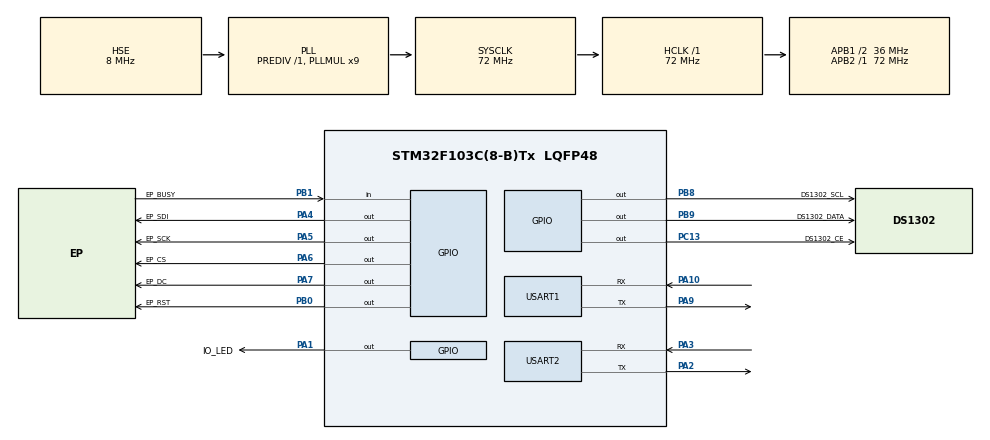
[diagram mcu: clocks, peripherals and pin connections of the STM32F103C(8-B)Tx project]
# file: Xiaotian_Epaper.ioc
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FREERTOS.BinarySemaphores01=Binary_Sem_1,Dynamic,NULL,Available;Binary_Sem_2,Dynamic,NULL,Available
FREERTOS.Events01=Event_01,Static,Event_01C;Event_02,Static,Event_02C
FREERTOS.Tasks01=TASK_INIT,40,128,task_init,Default,NULL,Dynamic,NULL,NULL;TASK_SHOW,32,128,task_show,Default,NULL,Dynamic,NULL,NULL;TASK_RUN,24,128,task_run,Default,NULL,Dynamic,NULL,NULL;TASK_READ,24,128,task_read,Default,NULL,Dynamic,NULL,NULL
FREERTOS.Timers01=Timer_ds1302_read,Callback_ds1302_read,osTimerPeriodic,Default,NULL,Dynamic,NULL
FREERTOS.configUSE_NEWLIB_REENTRANT=1
Mcu.Family=STM32F1
Mcu.Name=STM32F103C(8-B)Tx
Mcu.Package=LQFP48
NVIC.PriorityGroup=NVIC_PRIORITYGROUP_4
NVIC.TIM1_UP_IRQn=true\:15\:0\:false\:false\:true\:false\:false\:true\:true
NVIC.TimeBase=TIM1_UP_IRQn
NVIC.TimeBaseIP=TIM1
NVIC.USART1_IRQn=true\:5\:0\:false\:false\:true\:true\:true\:true\:true
NVIC.USART2_IRQn=true\:5\:0\:false\:false\:true\:true\:true\:true\:true
PA1.GPIO_Label=IO_LED
PA1.GPIO_PuPd=GPIO_NOPULL
PA1.Signal=GPIO_Output
PA10.Mode=Asynchronous
PA10.Signal=USART1_RX
PA13.Mode=Serial_Wire
PA13.Signal=SYS_JTMS-SWDIO
PA14.Mode=Serial_Wire
PA14.Signal=SYS_JTCK-SWCLK
PA2.Mode=Asynchronous
PA2.Signal=USART2_TX
PA3.Mode=Asynchronous
PA3.Signal=USART2_RX
PA4.GPIO_Label=EP_SDI
PA4.Signal=GPIO_Output
PA5.GPIO_Label=EP_SCK
PA5.Signal=GPIO_Output
PA6.GPIO_Label=EP_CS
PA6.Signal=GPIO_Output
PA7.GPIO_Label=EP_DC
PA7.Signal=GPIO_Output
PA9.Mode=Asynchronous
PA9.Signal=USART1_TX
PB0.GPIO_Label=EP_RST
PB0.Signal=GPIO_Output
PB1.GPIO_Label=EP_BUSY
PB1.GPIO_PuPd=GPIO_PULLDOWN
PB1.Signal=GPIO_Input
PB8.GPIO_Label=DS1302_SCL
PB8.GPIO_Speed=GPIO_SPEED_FREQ_MEDIUM
PB8.Signal=GPIO_Output
PB9.GPIO_Label=DS1302_DATA
PB9.GPIO_Speed=GPIO_SPEED_FREQ_MEDIUM
PB9.Signal=GPIO_Output
PC13-TAMPER-RTC.GPIO_Label=DS1302_CE
PC13-TAMPER-RTC.GPIO_Speed=GPIO_SPEED_FREQ_MEDIUM
PC13-TAMPER-RTC.Signal=GPIO_Output
PD0-OSC_IN.Mode=HSE-External-Oscillator
PD0-OSC_IN.Signal=RCC_OSC_IN
PD1-OSC_OUT.Mode=HSE-External-Oscillator
PD1-OSC_OUT.Signal=RCC_OSC_OUT
ProjectManager.HeapSize=0x200
ProjectManager.StackSize=0x400
ProjectManager.TargetToolchain=STM32CubeIDE
RCC.AHBFreq_Value=72000000
RCC.APB1CLKDivider=RCC_HCLK_DIV2
RCC.APB1Freq_Value=36000000
RCC.APB1TimFreq_Value=72000000
RCC.APB2Freq_Value=72000000
RCC.APB2TimFreq_Value=72000000
RCC.HCLKFreq_Value=72000000
RCC.PLLMUL=RCC_PLL_MUL9
RCC.PLLSourceVirtual=RCC_PLLSOURCE_HSE
RCC.SYSCLKFreq_VALUE=72000000
RCC.SYSCLKSource=RCC_SYSCLKSOURCE_PLLCLK
RCC.USBFreq_Value=72000000
USART1.VirtualMode=VM_ASYNC
USART2.VirtualMode=VM_ASYNC
VP_FREERTOS_VS_CMSIS_V2.Mode=CMSIS_V2
VP_SYS_VS_tim1.Mode=TIM1
board=custom

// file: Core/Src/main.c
/* USER CODE BEGIN Header */
/**
  ******************************************************************************
  * @file           : main.c
  * @brief          : Main program body
  ******************************************************************************
  * @attention
  *
  * Copyright (c) 2024 STMicroelectronics.
  * All rights reserved.
  *
  * This software is licensed under terms that can be found in the LICENSE file
  * in the root directory of this software component.
  * If no LICENSE file comes with this software, it is provided AS-IS.
  *
  ******************************************************************************
  */
/* USER CODE END Header */
#include "main.h"
#include "cmsis_os.h"
#include "usart.h"
#include "gpio.h"

/* USER CODE BEGIN Includes */
#include "stdio.h"
/* USER CODE END Includes */

void SystemClock_Config(void);
void MX_FREERTOS_Init(void);

int main(void)
{

  /* MCU Configuration--------------------------------------------------------*/

  /* Reset of all peripherals, Initializes the Flash interface and the Systick. */
  HAL_Init();

  /* Configure the system clock */
  SystemClock_Config();

  /* Initialize all configured peripherals */
  MX_GPIO_Init();
  MX_USART1_UART_Init();
  MX_USART2_UART_Init();

  /* Init scheduler */
  osKernelInitialize();

  /* Call init function for freertos objects (in cmsis_os2.c) */
  MX_FREERTOS_Init();

  /* Start scheduler */
  osKernelStart();

  /* We should never get here as control is now taken by the scheduler */

  /* Infinite loop */
  while (1)
  {

  }
}

void SystemClock_Config(void)
{
  RCC_OscInitTypeDef RCC_OscInitStruct = {0};
  RCC_ClkInitTypeDef RCC_ClkInitStruct = {0};

  /** Initializes the RCC Oscillators according to the specified parameters
  * in the RCC_OscInitTypeDef structure.
  */
  RCC_OscInitStruct.OscillatorType = RCC_OSCILLATORTYPE_HSE;
  RCC_OscInitStruct.HSEState = RCC_HSE_ON;
  RCC_OscInitStruct.HSEPredivValue = RCC_HSE_PREDIV_DIV1;
  RCC_OscInitStruct.HSIState = RCC_HSI_ON;
  RCC_OscInitStruct.PLL.PLLState = RCC_PLL_ON;
  RCC_OscInitStruct.PLL.PLLSource = RCC_PLLSOURCE_HSE;
  RCC_OscInitStruct.PLL.PLLMUL = RCC_PLL_MUL9;
  if (HAL_RCC_OscConfig(&RCC_OscInitStruct) != HAL_OK)
  {
    Error_Handler();
  }

  /** Initializes the CPU, AHB and APB buses clocks
  */
  RCC_ClkInitStruct.ClockType = RCC_CLOCKTYPE_HCLK|RCC_CLOCKTYPE_SYSCLK
                              |RCC_CLOCKTYPE_PCLK1|RCC_CLOCKTYPE_PCLK2;
  RCC_ClkInitStruct.SYSCLKSource = RCC_SYSCLKSOURCE_PLLCLK;
  RCC_ClkInitStruct.AHBCLKDivider = RCC_SYSCLK_DIV1;
  RCC_ClkInitStruct.APB1CLKDivider = RCC_HCLK_DIV2;
  RCC_ClkInitStruct.APB2CLKDivider = RCC_HCLK_DIV1;

  if (HAL_RCC_ClockConfig(&RCC_ClkInitStruct, FLASH_LATENCY_2) != HAL_OK)
  {
    Error_Handler();
  }
}

/* USER CODE BEGIN 4 */
#ifdef __GNUC__
#define PUTCHAR_PROTOTYPE int __io_putchar(int ch)
#else
#define PUTCHAR_PROTOTYPE int fputc(int ch, FILE *f)
#endif
PUTCHAR_PROTOTYPE
{
    HAL_UART_Transmit(&huart1 , (uint8_t *)&ch, 1, 0xFFFF);
    return ch;
}
/* USER CODE END 4 */

void HAL_TIM_PeriodElapsedCallback(TIM_HandleTypeDef *htim)
{
  if (htim->Instance == TIM1) {
    HAL_IncTick();
  }
}

void Error_Handler(void)
{
  __disable_irq();
  while (1)
  {
  }
}

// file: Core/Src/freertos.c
/* USER CODE BEGIN Header */
/**
  ******************************************************************************
  * File Name          : freertos.c
  * Description        : Code for freertos applications
  ******************************************************************************
  * @attention
  *
  * Copyright (c) 2024 STMicroelectronics.
  * All rights reserved.
  *
  * This software is licensed under terms that can be found in the LICENSE file
  * in the root directory of this software component.
  * If no LICENSE file comes with this software, it is provided AS-IS.
  *
  ******************************************************************************
  */
/* USER CODE END Header */

#include "FreeRTOS.h"
#include "task.h"
#include "main.h"
#include "cmsis_os.h"

/* USER CODE BEGIN Includes */
#include "stdio.h"
#include "EPAPER.h"
#include "myfreertos.h"
/* USER CODE END Includes */

typedef StaticEventGroup_t osStaticEventGroupDef_t;

/* Definitions for TASK_INIT */
osThreadId_t TASK_INITHandle;
const osThreadAttr_t TASK_INIT_attributes = {
  .name = "TASK_INIT",
  .stack_size = 128 * 4,
  .priority = (osPriority_t) osPriorityHigh,
};
/* Definitions for TASK_SHOW */
osThreadId_t TASK_SHOWHandle;
const osThreadAttr_t TASK_SHOW_attributes = {
  .name = "TASK_SHOW",
  .stack_size = 128 * 4,
  .priority = (osPriority_t) osPriorityAboveNormal,
};
/* Definitions for TASK_RUN */
osThreadId_t TASK_RUNHandle;
const osThreadAttr_t TASK_RUN_attributes = {
  .name = "TASK_RUN",
  .stack_size = 128 * 4,
  .priority = (osPriority_t) osPriorityNormal,
};
/* Definitions for TASK_READ */
osThreadId_t TASK_READHandle;
const osThreadAttr_t TASK_READ_attributes = {
  .name = "TASK_READ",
  .stack_size = 128 * 4,
  .priority = (osPriority_t) osPriorityNormal,
};
/* Definitions for Timer_ds1302_read */
osTimerId_t Timer_ds1302_readHandle;
const osTimerAttr_t Timer_ds1302_read_attributes = {
  .name = "Timer_ds1302_read"
};
/* Definitions for Binary_Sem_1 */
osSemaphoreId_t Binary_Sem_1Handle;
const osSemaphoreAttr_t Binary_Sem_1_attributes = {
  .name = "Binary_Sem_1"
};
/* Definitions for Binary_Sem_2 */
osSemaphoreId_t Binary_Sem_2Handle;
const osSemaphoreAttr_t Binary_Sem_2_attributes = {
  .name = "Binary_Sem_2"
};
/* Definitions for Event_01 */
osEventFlagsId_t Event_01Handle;
osStaticEventGroupDef_t Event_01C;
const osEventFlagsAttr_t Event_01_attributes = {
  .name = "Event_01",
  .cb_mem = &Event_01C,
  .cb_size = sizeof(Event_01C),
};
/* Definitions for Event_02 */
osEventFlagsId_t Event_02Handle;
osStaticEventGroupDef_t Event_02C;
const osEventFlagsAttr_t Event_02_attributes = {
  .name = "Event_02",
  .cb_mem = &Event_02C,
  .cb_size = sizeof(Event_02C),
};

void task_init(void *argument);
void task_show(void *argument);
void task_run(void *argument);
void task_read(void *argument);
void Callback_ds1302_read(void *argument);

void MX_FREERTOS_Init(void); /* (MISRA C 2004 rule 8.1) */

void MX_FREERTOS_Init(void) {

  /* Create the semaphores(s) */
  /* creation of Binary_Sem_1 */
  Binary_Sem_1Handle = osSemaphoreNew(1, 1, &Binary_Sem_1_attributes);

  /* creation of Binary_Sem_2 */
  Binary_Sem_2Handle = osSemaphoreNew(1, 1, &Binary_Sem_2_attributes);

  /* Create the timer(s) */
  /* creation of Timer_ds1302_read */
  Timer_ds1302_readHandle = osTimerNew(Callback_ds1302_read, osTimerPeriodic, NULL, &Timer_ds1302_read_attributes);

  /* Create the thread(s) */
  /* creation of TASK_INIT */
  TASK_INITHandle = osThreadNew(task_init, NULL, &TASK_INIT_attributes);

  /* creation of TASK_SHOW */
  TASK_SHOWHandle = osThreadNew(task_show, NULL, &TASK_SHOW_attributes);

  /* creation of TASK_RUN */
  TASK_RUNHandle = osThreadNew(task_run, NULL, &TASK_RUN_attributes);

  /* creation of TASK_READ */
  TASK_READHandle = osThreadNew(task_read, NULL, &TASK_READ_attributes);

  /* Create the event(s) */
  /* creation of Event_01 */
  Event_01Handle = osEventFlagsNew(&Event_01_attributes);

  /* creation of Event_02 */
  Event_02Handle = osEventFlagsNew(&Event_02_attributes);

}

void task_init(void *argument)
{
  /* USER CODE BEGIN task_init */
  /* Infinite loop */
  for(;;)
  {
    init();
  }
  /* USER CODE END task_init */
}

void task_show(void *argument)
{
  /* USER CODE BEGIN task_show */
  /* Infinite loop */
  for(;;)
  {
    show();
  }
  /* USER CODE END task_show */
}

void task_run(void *argument)
{
  /* USER CODE BEGIN task_run */
  /* Infinite loop */
  for(;;)
  {
    run();
  }
  /* USER CODE END task_run */
}

void task_read(void *argument)
{
  /* USER CODE BEGIN task_read */
  /* Infinite loop */
  for(;;)
  {
    read();
  }
  /* USER CODE END task_read */
}

/* Callback_ds1302_read function */
void Callback_ds1302_read(void *argument)
{
}
